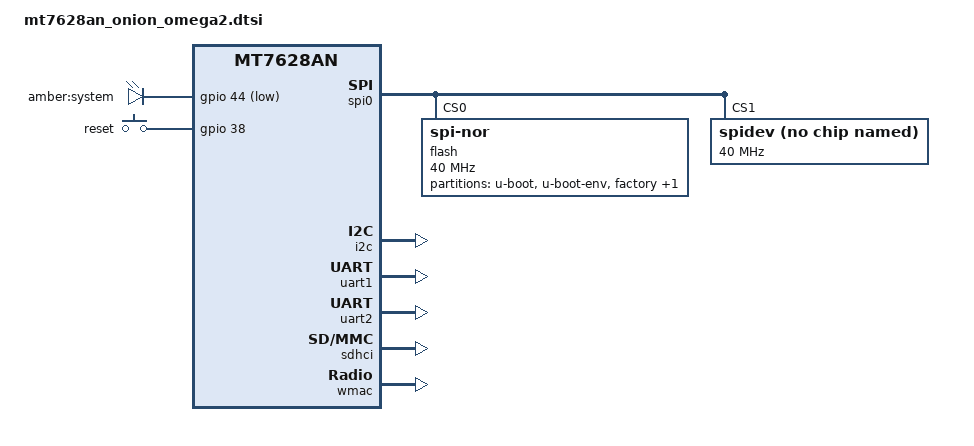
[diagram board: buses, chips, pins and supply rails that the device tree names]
#include "mt7628an.dtsi"

#include <dt-bindings/gpio/gpio.h>
#include <dt-bindings/input/input.h>

/ {
	compatible = "onion,omega2", "mediatek,mt7628an-soc";

	aliases {
		led-boot = &led_system;
		led-failsafe = &led_system;
		led-running = &led_system;
		led-upgrade = &led_system;
	};

	chosen {
		bootargs = "console=ttyS0,115200";
	};

	leds {
		compatible = "gpio-leds";

		led_system: system {
			label = "amber:system";
			gpios = <&gpio 44 GPIO_ACTIVE_LOW>;
		};
	};

	keys {
		compatible = "gpio-keys";

		reset {
			label = "reset";
			gpios = <&gpio 38 GPIO_ACTIVE_HIGH>;
			linux,code = <KEY_RESTART>;
		};
	};
};

&state_default {
	gpio {
		groups = "gpio";
		function = "gpio";
	};

	perst {
		groups = "perst";
		function = "gpio";
	};

	refclk {
		groups = "refclk";
		function = "gpio";
	};

	i2s {
		groups = "i2s";
		function = "gpio";
	};

	spis {
		groups = "spis";
		function = "gpio";
	};

	wled_kn {
		groups = "wled_kn";
		function = "gpio";
	};

	wled_an {
		groups = "wled_an";
		function = "gpio";
	};

	wdt {
		groups = "wdt";
		function = "gpio";
	};

	pwm0 {
		groups = "pwm0";
		function = "gpio";
	};

	pwm1 {
		groups = "pwm1";
		function = "gpio";
	};
};

&spi0 {
	status = "okay";

	pinctrl-names = "default";
	pinctrl-0 = <&spi_pins>, <&spi_cs1_pins>;

	flash@0 {
		compatible = "jedec,spi-nor";
		reg = <0>;
		spi-max-frequency = <40000000>;

		partitions {
			compatible = "fixed-partitions";
			#address-cells = <1>;
			#size-cells = <1>;

			partition@0 {
				label = "u-boot";
				reg = <0x0 0x30000>;
				read-only;
			};

			partition@30000 {
				label = "u-boot-env";
				reg = <0x30000 0x10000>;
				read-only;
			};

			factory: partition@40000 {
				label = "factory";
				reg = <0x40000 0x10000>;
				read-only;
			};

			firmware: partition@50000 {
				compatible = "denx,uimage";
				label = "firmware";
			};
		};
	};

	spidev@1 {
		#address-cells = <1>;
		#size-cells = <1>;
		compatible = "linux,spidev";
		reg = <1>;
		spi-max-frequency = <40000000>;
	};
};

&i2c {
	status = "okay";
};

&uart1 {
	status = "okay";
};

&uart2 {
	status = "okay";
};

&ethernet {
	mtd-mac-address = <&factory 0x2e>;
};

&sdhci {
	status = "okay";
	mediatek,cd-low;
};

&wmac {
	status = "okay";
};
